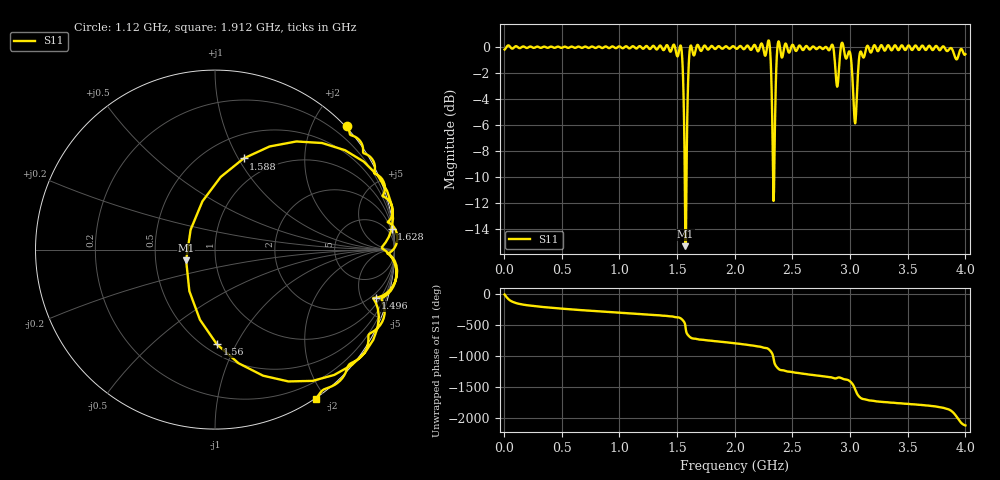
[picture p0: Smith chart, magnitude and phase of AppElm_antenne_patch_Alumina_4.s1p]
! TOUCHSTONE file generated by CST MICROWAVE STUDIO
! Date and time: Thu Jun  9 15:16:40 2022
! Project name: AppElm_antenne_patch_Alumina.cst
! Parameters = {L=30.5; W=41.8; e=0.035; h=1.6; lambda=0.190476; ls=90; w0=1.12; w1=0.373; ws=90; y0=14; y1=9}
! Header version: 2018
! Port assignment regex: !\s*Touchstone port\s*([0-9]+)\s*=\s*(CST MWS port|CST DS port)\s*([0-9]+|Zmin|Zmax)\s*\(\"(.*)\"\)(\s*mode\s*([0-9]+))?.*
! Touchstone port assignment:
! Touchstone port 1 = CST MWS port 1 ("")
# GHz S MA R 50
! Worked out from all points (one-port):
!   1000 points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, 4 MHz to 4 GHz, reference 50 ohm
!   lowest |S11| = -15.3 dB at 1.572 GHz (marker M1), VSWR 1.41, Z = 35.9 - j4.47 ohm
!   |S11| at or under -10 dB: 1.566 GHz to 1.581 GHz (14.92 MHz wide, 0.948 % of centre); 2.332326 GHz to 2.34176 GHz (9.434 MHz wide, 0.404 % of centre)
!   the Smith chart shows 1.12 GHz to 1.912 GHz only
!   S11 on the Smith chart (normalised r, x): 1.12 GHz: -0.03, +2.52; 1.496 GHz: 1.54, -6.46; 1.56 GHz: 0.57, -0.84; 1.588 GHz: 0.74, +1.05; 1.628 GHz: 1, +17; 1.912 GHz: -0.01, -1.88
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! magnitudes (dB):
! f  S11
! 4 MHz  -0.2
! 504 MHz  0.0
! 1.004 GHz  0.1
! 1.12 GHz  0.1
! 1.496 GHz  -0.6
! 1.504 GHz  -0.7
! 1.536 GHz  0.0
! 1.56 GHz  -5.6
! 1.572 GHz  -15.3
! 1.588 GHz  -5.5
! 1.608 GHz  -0.3
! 1.628 GHz  -0.1
! 1.912 GHz  0.0
! 2.004 GHz  -0.1
! 2.292 GHz  0.5
! 2.336 GHz  -11.8
! 2.348 GHz  -6.2
! 2.368 GHz  -0.2
! 2.38 GHz  0.5
! 2.504 GHz  0.2
! 2.84 GHz  0.2
! 2.888 GHz  -3.0
! 2.932 GHz  0.3
! 3.004 GHz  -0.6
! 3.044 GHz  -5.9
! 3.096 GHz  -0.4
! 3.504 GHz  0.1
! 4 GHz  -0.5
